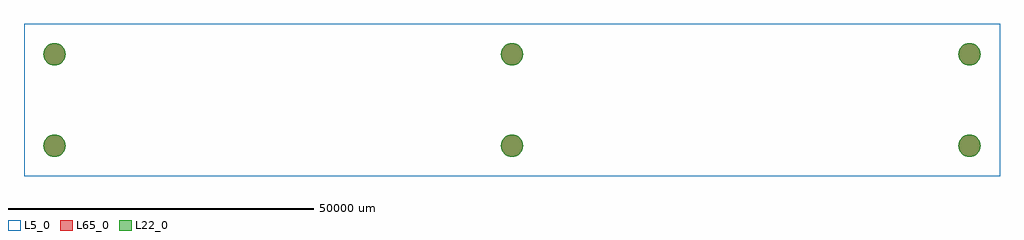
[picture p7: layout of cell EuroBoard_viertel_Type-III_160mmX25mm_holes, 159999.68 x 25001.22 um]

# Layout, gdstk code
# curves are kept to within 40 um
import gdstk
lib = gdstk.Library(unit=1e-6, precision=1e-09)
def R(c, l, rs):  # rectangles x0, y0, x1, y1
    for r in rs: c.add(gdstk.rectangle(r[:2], r[2:], *l))
def P(c, l, *ps):  # polygons
    for p in ps: c.add(gdstk.Polygon(p, *l))
L5_0 = (5, 0)
L22_0 = (22, 0)
L65_0 = (65, 0)

euroboard_viertel_type_i = lib.new_cell('EuroBoard_viertel_Type-III_160mmX25mm_holes')
R(euroboard_viertel_type_i, L5_0, [(0,0,159999.68,25001.22)])
P(euroboard_viertel_type_i, L22_0, [(81824.9,5001.26),(81685.976,5699.68),(81290.352,6291.772),(80698.26,6687.396),(79999.84,6826.32),(79301.42,6687.396),(78709.328,6291.772),(78313.704,5699.68),(78174.78,5001.26),(78313.704,4302.84),(78709.328,3710.748),(79301.42,3315.124),(79999.84,3176.2),(80698.26,3315.124),(81290.352,3710.748),(81685.976,4302.84)],
  [(156826.02,5001.26),(156687.096,5699.68),(156291.472,6291.772),(155699.38,6687.396),(155000.96,6826.32),(154302.54,6687.396),(153710.448,6291.772),(153314.824,5699.68),(153175.9,5001.26),(153314.824,4302.84),(153710.448,3710.748),(154302.54,3315.124),(155000.96,3176.2),(155699.38,3315.124),(156291.472,3710.748),(156687.096,4302.84)],
  [(156826.02,19999.96),(156687.096,20698.38),(156291.472,21290.472),(155699.38,21686.096),(155000.96,21825.02),(154302.54,21686.096),(153710.448,21290.472),(153314.824,20698.38),(153175.9,19999.96),(153314.824,19301.54),(153710.448,18709.448),(154302.54,18313.824),(155000.96,18174.9),(155699.38,18313.824),(156291.472,18709.448),(156687.096,19301.54)],
  [(81824.9,19999.96),(81685.976,20698.38),(81290.352,21290.472),(80698.26,21686.096),(79999.84,21825.02),(79301.42,21686.096),(78709.328,21290.472),(78313.704,20698.38),(78174.78,19999.96),(78313.704,19301.54),(78709.328,18709.448),(79301.42,18313.824),(79999.84,18174.9),(80698.26,18313.824),(81290.352,18709.448),(81685.976,19301.54)],
  [(6826.32,19999.96),(6687.396,20698.38),(6291.772,21290.472),(5699.68,21686.096),(5001.26,21825.02),(4302.84,21686.096),(3710.748,21290.472),(3315.124,20698.38),(3176.2,19999.96),(3315.124,19301.54),(3710.748,18709.448),(4302.84,18313.824),(5001.26,18174.9),(5699.68,18313.824),(6291.772,18709.448),(6687.396,19301.54)],
  [(6826.32,5001.26),(6687.396,5699.68),(6291.772,6291.772),(5699.68,6687.396),(5001.26,6826.32),(4302.84,6687.396),(3710.748,6291.772),(3315.124,5699.68),(3176.2,5001.26),(3315.124,4302.84),(3710.748,3710.748),(4302.84,3315.124),(5001.26,3176.2),(5699.68,3315.124),(6291.772,3710.748),(6687.396,4302.84)])
P(euroboard_viertel_type_i, L65_0, [(81824.9,5001.26),(81685.976,5699.68),(81290.352,6291.772),(80698.26,6687.396),(79999.84,6826.32),(79301.42,6687.396),(78709.328,6291.772),(78313.704,5699.68),(78174.78,5001.26),(78313.704,4302.84),(78709.328,3710.748),(79301.42,3315.124),(79999.84,3176.2),(80698.26,3315.124),(81290.352,3710.748),(81685.976,4302.84)],
  [(156826.02,5001.26),(156687.096,5699.68),(156291.472,6291.772),(155699.38,6687.396),(155000.96,6826.32),(154302.54,6687.396),(153710.448,6291.772),(153314.824,5699.68),(153175.9,5001.26),(153314.824,4302.84),(153710.448,3710.748),(154302.54,3315.124),(155000.96,3176.2),(155699.38,3315.124),(156291.472,3710.748),(156687.096,4302.84)],
  [(156826.02,19999.96),(156687.096,20698.38),(156291.472,21290.472),(155699.38,21686.096),(155000.96,21825.02),(154302.54,21686.096),(153710.448,21290.472),(153314.824,20698.38),(153175.9,19999.96),(153314.824,19301.54),(153710.448,18709.448),(154302.54,18313.824),(155000.96,18174.9),(155699.38,18313.824),(156291.472,18709.448),(156687.096,19301.54)],
  [(81824.9,19999.96),(81685.976,20698.38),(81290.352,21290.472),(80698.26,21686.096),(79999.84,21825.02),(79301.42,21686.096),(78709.328,21290.472),(78313.704,20698.38),(78174.78,19999.96),(78313.704,19301.54),(78709.328,18709.448),(79301.42,18313.824),(79999.84,18174.9),(80698.26,18313.824),(81290.352,18709.448),(81685.976,19301.54)],
  [(6826.32,19999.96),(6687.396,20698.38),(6291.772,21290.472),(5699.68,21686.096),(5001.26,21825.02),(4302.84,21686.096),(3710.748,21290.472),(3315.124,20698.38),(3176.2,19999.96),(3315.124,19301.54),(3710.748,18709.448),(4302.84,18313.824),(5001.26,18174.9),(5699.68,18313.824),(6291.772,18709.448),(6687.396,19301.54)],
  [(6826.32,5001.26),(6687.396,5699.68),(6291.772,6291.772),(5699.68,6687.396),(5001.26,6826.32),(4302.84,6687.396),(3710.748,6291.772),(3315.124,5699.68),(3176.2,5001.26),(3315.124,4302.84),(3710.748,3710.748),(4302.84,3315.124),(5001.26,3176.2),(5699.68,3315.124),(6291.772,3710.748),(6687.396,4302.84)])
euroboard_viertel_type_i.add(gdstk.Label('type', (82999.58,-5999.48), layer=9, texttype=0))
euroboard_viertel_type_i.add(gdstk.Label('devicename', (77000.1,28999.18), layer=9, texttype=0))

lib.write_gds('EuroBoard_viertel_Type-III_160mmX25mm_holes.gds')
